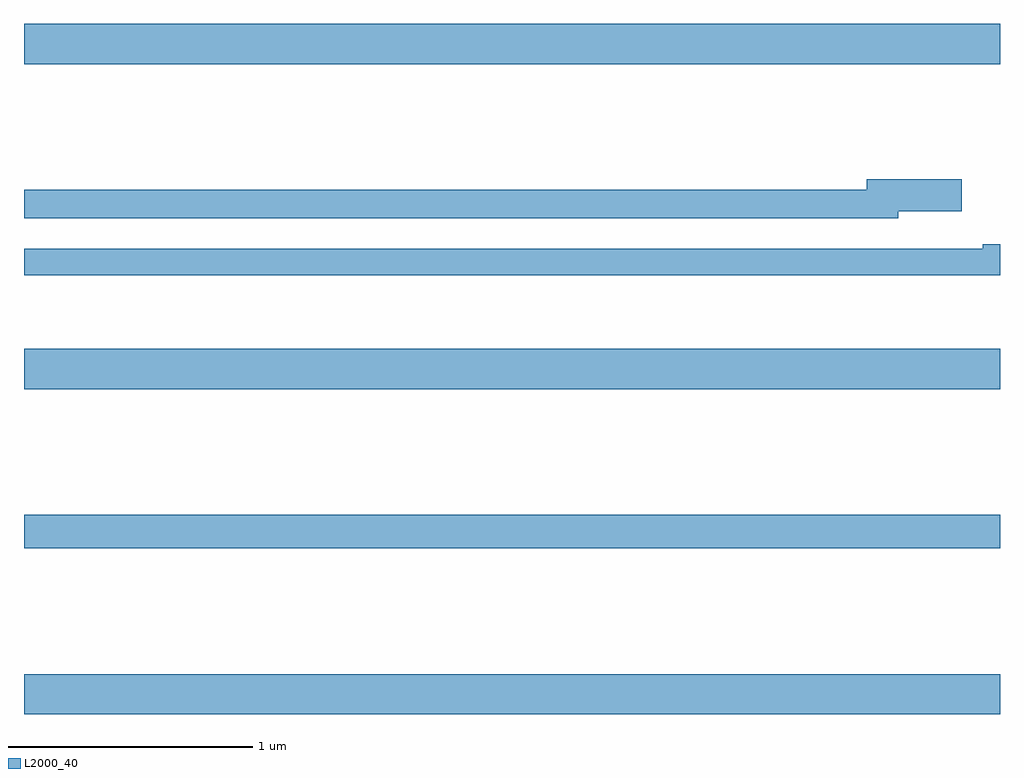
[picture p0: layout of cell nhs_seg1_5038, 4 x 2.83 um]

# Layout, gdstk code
import gdstk
lib = gdstk.Library(unit=1e-6, precision=1e-09)
def R(c, l, rs):  # rectangles x0, y0, x1, y1
    for r in rs: c.add(gdstk.rectangle(r[:2], r[2:], *l))
def A(c, l, x, y, w, h, nx, ny, dx, dy):  # array of equal rectangles
    R(c, l, [(x+i*dx, y+j*dy, x+i*dx+w, y+j*dy+h) for i in range(nx) for j in range(ny)])
def P(c, l, *ps):  # polygons
    for p in ps: c.add(gdstk.Polygon(p, *l))
L2000_40 = (2000, 40)

nhs_seg1_5038 = lib.new_cell('nhs_seg1_5038')
A(nhs_seg1_5038, L2000_40, 385, 506.444, 4, 0.164, 1, 3, 0, 1.332)
R(nhs_seg1_5038, L2000_40, [(385,507.124,389,507.26)])
P(nhs_seg1_5038, L2000_40, [(388.582,508.505),(388.843,508.505),(388.843,508.635),(388.454,508.635),(388.454,508.592),(385,508.592),(385,508.476),(388.582,508.476)],
  [(389,508.37),(388.93,508.37),(388.93,508.351),(388.678,508.351),(388.678,508.35),(385,508.35),(385,508.242),(389,508.242)])

lib.write_gds('nhs_seg1_5038.gds')
